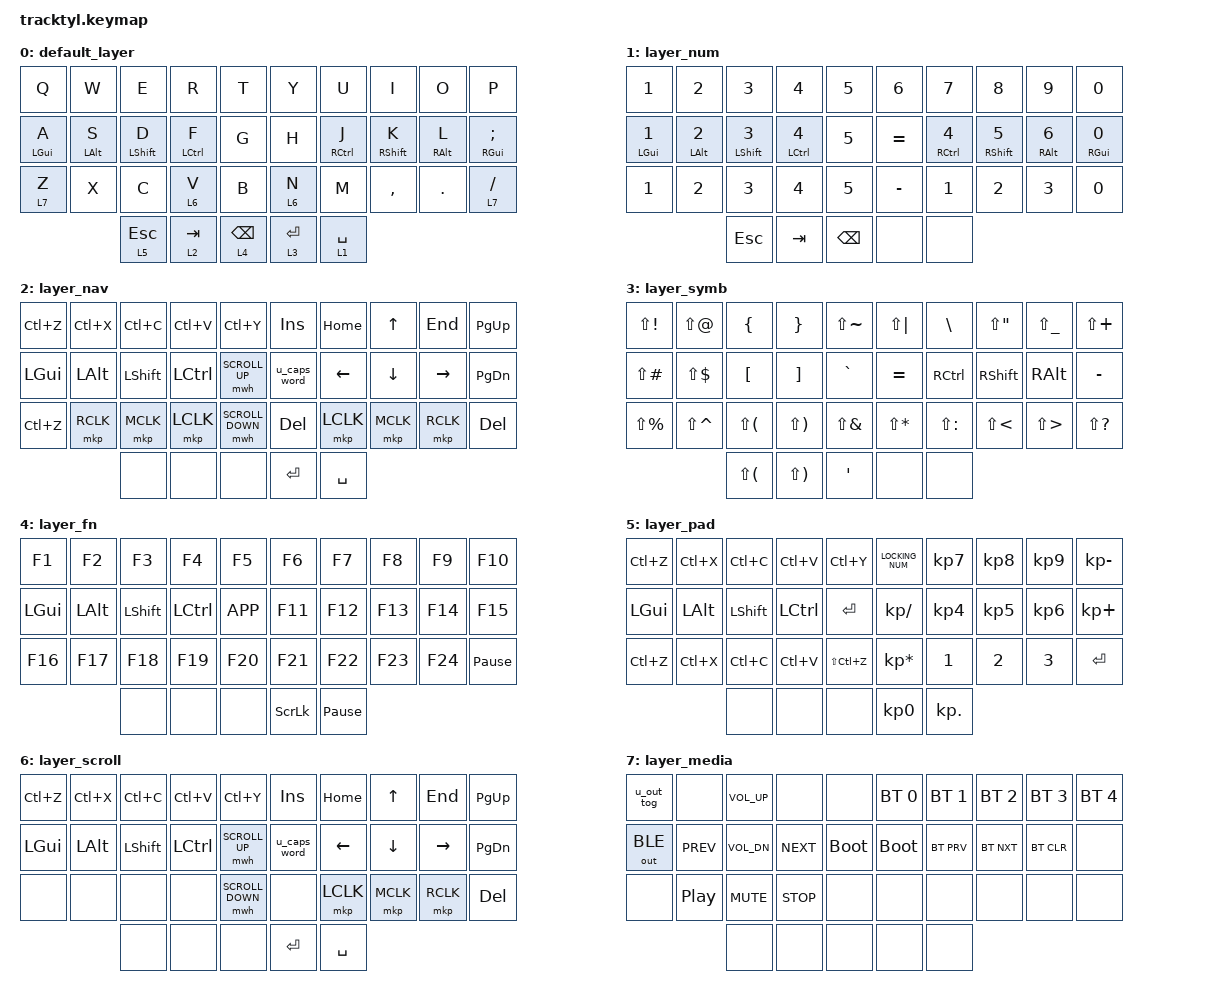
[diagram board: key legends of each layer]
#include <behaviors.dtsi>
#include <dt-bindings/zmk/keys.h>
#include <dt-bindings/zmk/bt.h>
#include <dt-bindings/zmk/outputs.h>
#include <dt-bindings/zmk/mouse.h>

/ {
    combos {
        compatible = "zmk,combos";

        combo_mb_lclick {
            timeout-ms = <50>;
            key-positions = <12 13>;
            bindings = <&mkp LCLK>;
        };

         combo_mb_rclick {
            timeout-ms = <50>;
            key-positions = <22 23>;
            bindings = <&mkp RCLK>;
        };

         combo_mb_mclick {
            timeout-ms = <50>;
            key-positions = <2 3>;
            bindings = <&mkp MCLK>;
        };
    };

    behaviors {
        u_mt: u_mt {
            compatible = "zmk,behavior-hold-tap";
            label = "U_MT";
            bindings =
                <&kp>,
                <&kp>;

            #binding-cells = <2>;
            tapping-term-ms = <200>;
            flavor = "tap-preferred";
        };
        u_lt: u_lt {
            compatible = "zmk,behavior-hold-tap";
            label = "U_LT";
            bindings =
                <&mo>,
                <&kp>;

            #binding-cells = <2>;
            tapping-term-ms = <200>;
            flavor = "tap-preferred";
        };
        u_out_tog: u_out_tog {
            compatible = "zmk,behavior-mod-morph";
            label = "U_OUT_TOG";
            bindings =
                <&out OUT_TOG>,
                <&out OUT_USB>;

            #binding-cells = <0>;
            mods = <(MOD_LSFT|MOD_RSFT)>;
        };
        u_caps_word: u_caps_word {
            compatible = "zmk,behavior-mod-morph";
            label = "U_CAPS_WORD";
            bindings =
                <&caps_word>,
                <&kp CAPS>;

            #binding-cells = <0>;
            mods = <(MOD_LSFT|MOD_RSFT)>;
        };
    };

    keymap {
        compatible = "zmk,keymap";

        default_layer {
            bindings = <
       &kp Q             &kp W               &kp E          &kp R              &kp T          &kp Y          &kp U         &kp I              &kp O                 &kp P
&u_mt LGUI A  &u_mt LEFT_ALT S  &u_mt LEFT_SHIFT D  &u_mt LCTRL F              &kp G          &kp H         &u_mt RCTRL J  &u_mt RIGHT_SHIFT K  &u_mt RIGHT_ALT L  &u_mt RIGHT_GUI SEMI
&u_lt 7 Z            &kp X               &kp C          &u_lt 6 V              &kp B          &u_lt 6 N    &kp M            &kp COMMA            &kp DOT        &u_lt 7  SLASH
                                       &u_lt 5 ESC    &u_lt 2 TAB  &u_lt 4 BACKSPACE  &u_lt 3 ENTER  &u_lt 1 SPACE
            >;
            trackball-bindings = <&tmv>;
        };

        layer_num {
            bindings = <
       &kp NUMBER_1             &kp NUMBER_2               &kp NUMBER_3          &kp NUMBER_4   &kp NUMBER_5  &kp NUMBER_6          &kp NUMBER_7                &kp NUMBER_8              &kp NUMBER_9              &kp NUMBER_0
&u_mt LGUI NUMBER_1  &u_mt LEFT_ALT NUMBER_2  &u_mt LEFT_SHIFT NUMBER_3  &u_mt LCTRL NUMBER_4   &kp NUMBER_5     &kp EQUAL  &u_mt RCTRL NUMBER_4  &u_mt RIGHT_SHIFT NUMBER_5  &u_mt RIGHT_ALT NUMBER_6  &u_mt RIGHT_GUI NUMBER_0
       &kp NUMBER_1             &kp NUMBER_2               &kp NUMBER_3          &kp NUMBER_4   &kp NUMBER_5     &kp MINUS          &kp NUMBER_1                &kp NUMBER_2              &kp NUMBER_3              &kp NUMBER_0
                                                                &kp ESC               &kp TAB  &kp BACKSPACE         &none                 &none
            >;
            trackball-bindings = <&tkp LC(TAB) LC(LS(TAB)) LG(PG_UP) LG(PG_DN)>;
        };

        layer_nav {
            bindings = <
&kp LC(Z)   &kp LC(X)   &kp LC(C)   &kp LC(V)   &kp LC(Y)           &kp INS         &kp HOME  &kp UP    &kp END    &kp PG_UP
&kp LGUI    &kp LALT    &kp LSHFT   &kp LCTRL   &mwh SCROLL_UP      &u_caps_word    &kp LEFT  &kp DOWN  &kp RIGHT  &kp PG_DN
&kp LC(Z)   &mkp RCLK   &mkp MCLK   &mkp LCLK   &mwh SCROLL_DOWN    &kp DEL         &mkp LCLK &mkp MCLK &mkp RCLK  &kp DEL
                          &none     &none       &none               &kp RET         &kp SPACE
            >;
            trackball-bindings = <&tmv>;
        };

        layer_symb {
            bindings = <
 &kp LS(EXCL)     &kp LS(AT)  &kp LEFT_BRACE    &kp RIGHT_BRACE  &kp LS(TILDE)  &kp LS(PIPE)       &kp BSLH  &kp LS(DQT)  &kp LS(UNDER)   &kp LS(PLUS)
&kp LS(POUND)   &kp LS(DLLR)        &kp LBKT  &kp RIGHT_BRACKET      &kp GRAVE     &kp EQUAL      &kp RCTRL    &kp RSHFT       &kp RALT      &kp MINUS
&kp LS(PRCNT)  &kp LS(CARET)    &kp LS(LPAR)       &kp LS(RPAR)   &kp LS(AMPS)  &kp LS(STAR)  &kp LS(COLON)   &kp LS(LT)     &kp LS(GT)  &kp LS(QMARK)
                                &kp LS(LPAR)       &kp LS(RPAR)        &kp SQT         &none          &none
            >;
            trackball-bindings = <&tkp BSPC DELETE LC(MINUS) LC(PLUS)>;
        };

        layer_fn {
            bindings = <
  &kp F1    &kp F2     &kp F3     &kp F4     &kp F5    &kp F6           &kp F7   &kp F8   &kp F9          &kp F10
&kp LGUI  &kp LALT  &kp LSHFT  &kp LCTRL  &kp K_APP   &kp F11          &kp F12  &kp F13  &kp F14          &kp F15
 &kp F16   &kp F17    &kp F18    &kp F19    &kp F20   &kp F21          &kp F22  &kp F23  &kp F24  &kp PAUSE_BREAK
                        &none      &none      &none  &kp SLCK  &kp PAUSE_BREAK
            >;
            trackball-bindings = <&tkp_fast RIGHT LEFT DOWN UP>;
        };

        layer_pad {
            bindings = <
&kp LC(Z)  &kp LC(X)  &kp LC(C)  &kp LC(V)      &kp LC(Y)  &kp LOCKING_NUM   &kp KP_N7  &kp KP_N8  &kp KP_N9  &kp KP_MINUS
 &kp LGUI   &kp LALT  &kp LSHFT  &kp LCTRL        &kp RET     &kp KP_SLASH   &kp KP_N4  &kp KP_N5  &kp KP_N6   &kp KP_PLUS
&kp LC(Z)  &kp LC(X)  &kp LC(C)  &kp LC(V)  &kp LS(LC(Z))  &kp KP_ASTERISK      &kp N1     &kp N2     &kp N3       &kp RET
                          &none      &none          &none        &kp KP_N0  &kp KP_DOT
            >;
            trackball-bindings = <&tmv_fine>;
        };

        layer_scroll {
            bindings = <
&kp LC(Z)   &kp LC(X)   &kp LC(C)   &kp LC(V)   &kp LC(Y)           &kp INS         &kp HOME  &kp UP    &kp END    &kp PG_UP
&kp LGUI    &kp LALT    &kp LSHFT   &kp LCTRL   &mwh SCROLL_UP      &u_caps_word    &kp LEFT  &kp DOWN  &kp RIGHT  &kp PG_DN
&none       &none       &none       &none       &mwh SCROLL_DOWN    &none           &mkp LCLK &mkp MCLK &mkp RCLK  &kp DEL
                        &none       &none       &none               &kp RET         &kp SPACE
            >;
            trackball-bindings = <&tsl>;
        };

        layer_media {
            bindings = <
&u_out_tog    &none       &kp C_VOL_UP  &none        &none         &bt BT_SEL 0  &bt BT_SEL 1  &bt BT_SEL 2  &bt BT_SEL 3  &bt BT_SEL 4
&out OUT_BLE  &kp C_PREV  &kp C_VOL_DN  &kp C_NEXT   &bootloader   &bootloader   &bt BT_PRV    &bt BT_NXT    &bt BT_CLR    &none
&none         &kp C_PP    &kp C_MUTE    &kp C_STOP   &none         &none         &none         &none         &none         &none
                          &none         &none        &none         &none         &none
            >;
            trackball-bindings = <&tmv>;
        };
    };
};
